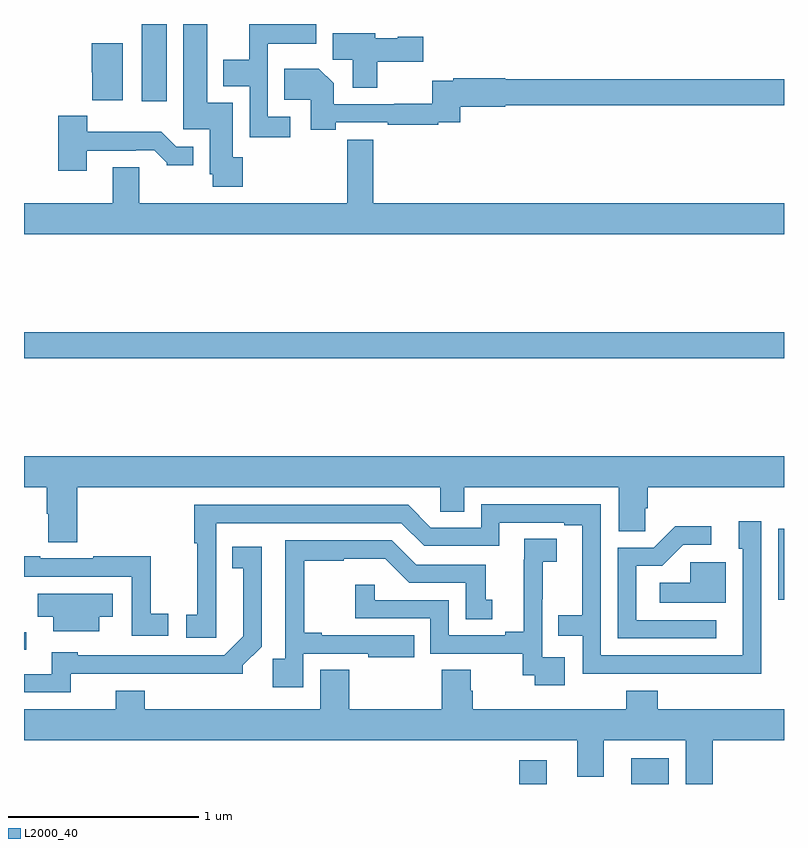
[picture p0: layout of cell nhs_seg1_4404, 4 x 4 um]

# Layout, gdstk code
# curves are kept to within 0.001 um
import gdstk
lib = gdstk.Library(unit=1e-6, precision=1e-09)
def R(c, l, rs):  # rectangles x0, y0, x1, y1
    for r in rs: c.add(gdstk.rectangle(r[:2], r[2:], *l))
def P(c, l, *ps):  # polygons
    for p in ps: c.add(gdstk.Polygon(p, *l))
L2000_40 = (2000, 40)

nhs_seg1_4404 = lib.new_cell('nhs_seg1_4404')
R(nhs_seg1_4404, L2000_40, [(353.606,522.199,353.752,522.325), (354.197,522.199,354.393,522.334), (351,522.905,351.013,522.999), (354.969,523.17,355,523.542), (351,524.44,355,524.576), (351.62,525.792,351.751,526.199)])
P(nhs_seg1_4404, L2000_40, [(352.151,525.498),(352.099,525.498),(352.099,525.784),(351.964,525.784),(351.964,526.199),(351.839,526.199),(351.839,525.645),(351.977,525.645),(351.977,525.408),(351.994,525.408),(351.994,525.342),(352.151,525.342)],
  [(352.402,525.711),(352.284,525.711),(352.284,526.094),(352.537,526.094),(352.537,526.199),(352.421,526.199),(352.421,526.198),(352.186,526.198),(352.186,526.012),(352.049,526.012),(352.049,525.872),(352.188,525.872),(352.188,525.603),(352.402,525.603)],
  [(352.86,526.001),(353.101,526.001),(353.101,526.131),(352.968,526.131),(352.968,526.123),(352.848,526.123),(352.848,526.15),(352.625,526.15),(352.625,526.012),(352.73,526.012),(352.73,525.864),(352.86,525.864)],
  [(351.52,526.099),(351.356,526.099),(351.356,525.945),(351.358,525.945),(351.358,525.797),(351.52,525.797)],
  [(352.642,525.681),(352.915,525.681),(352.915,525.669),(353.18,525.669),(353.18,525.681),(353.297,525.681),(353.297,525.764),(353.532,525.764),(353.532,525.772),(355,525.772),(355,525.908),(353.532,525.908),(353.532,525.914),(353.26,525.914),(353.26,525.901),(353.149,525.901),(353.149,525.78),(352.948,525.78),(352.948,525.777),(352.63,525.777),(352.63,525.886),(352.552,525.964),(352.369,525.964),(352.369,525.8),(352.508,525.8),(352.508,525.643),(352.642,525.643)],
  [(351.331,525.531),(351.587,525.531),(351.587,525.534),(351.686,525.534),(351.75,525.47),(351.75,525.455),(351.892,525.455),(351.892,525.552),(351.801,525.552),(351.723,525.631),(351.334,525.631),(351.334,525.715),(351.179,525.715),(351.179,525.426),(351.331,525.426)],
  [(355,525.256),(352.838,525.256),(352.838,525.589),(352.702,525.589),(352.702,525.256),(351.607,525.256),(351.607,525.446),(351.467,525.446),(351.467,525.256),(351,525.256),(351,525.092),(355,525.092)],
  [(351.281,523.76),(353.19,523.76),(353.19,523.633),(353.317,523.633),(353.317,523.76),(354.131,523.76),(354.131,523.528),(354.27,523.528),(354.27,523.651),(354.284,523.651),(354.284,523.76),(355,523.76),(355,523.924),(351,523.924),(351,523.76),(351.121,523.76),(351.121,523.621),(351.128,523.621),(351.128,523.471),(351.281,523.471)],
  [(354.881,523.082),(354.879,523.082),(354.879,523.582),(354.761,523.582),(354.761,523.437),(354.783,523.437),(354.783,522.876),(354.036,522.876),(354.036,523.671),(353.406,523.671),(353.406,523.548),(353.142,523.548),(353.022,523.668),(351.895,523.668),(351.895,523.465),(351.913,523.465),(351.913,523.089),(351.855,523.089),(351.855,522.969),(352.012,522.969),(352.011,523.572),(352.986,523.572),(353.106,523.452),(353.502,523.452),(353.502,523.575),(353.843,523.575),(353.843,523.56),(353.939,523.56),(353.939,523.087),(353.812,523.087),(353.812,522.978),(353.94,522.978),(353.94,522.78),(354.881,522.779)],
  [(354.643,523.062),(354.222,523.062),(354.222,523.347),(354.36,523.347),(354.471,523.458),(354.616,523.458),(354.616,523.556),(354.428,523.556),(354.315,523.443),(354.126,523.443),(354.126,522.966),(354.643,522.966)],
  [(353.845,522.867),(353.727,522.867),(353.727,523.171),(353.729,523.171),(353.729,523.369),(353.803,523.369),(353.803,523.49),(353.632,523.49),(353.632,523.379),(353.63,523.379),(353.63,523.001),(353.534,523.001),(353.534,522.981),(353.235,522.981),(353.235,523.167),(352.845,523.167),(352.845,523.249),(352.744,523.249),(352.744,523.071),(353.139,523.071),(353.139,522.885),(353.626,522.885),(353.626,522.771),(353.689,522.771),(353.689,522.72),(353.845,522.72)],
  [(352.47,522.885),(352.811,522.885),(352.811,522.866),(353.054,522.866),(353.054,522.981),(352.567,522.981),(352.567,522.994),(352.475,522.994),(352.475,523.374),(352.682,523.374),(352.682,523.385),(352.9,523.385),(353.028,523.257),(353.324,523.257),(353.324,523.066),(353.464,523.066),(353.464,523.17),(353.431,523.17),(353.431,523.353),(353.064,523.353),(352.935,523.482),(352.374,523.482),(352.374,522.859),(352.309,522.859),(352.309,522.708),(352.47,522.708)],
  [(351.246,522.78),(352.152,522.779),(352.152,522.823),(352.251,522.922),(352.251,523.447),(352.096,523.447),(352.096,523.334),(352.154,523.334),(352.154,522.977),(352.053,522.876),(351.282,522.876),(351.282,522.892),(351.146,522.892),(351.146,522.777),(351,522.777),(351,522.681),(351.246,522.681)],
  [(351.76,523.094),(351.666,523.094),(351.666,523.399),(351.364,523.399),(351.364,523.386),(351.085,523.386),(351.085,523.399),(351,523.399),(351,523.29),(351.567,523.29),(351.567,522.978),(351.76,522.978)],
  [(354.694,523.365),(354.507,523.365),(354.507,523.258),(354.345,523.258),(354.345,523.154),(354.694,523.154)],
  [(351.397,523.079),(351.466,523.079),(351.466,523.201),(351.073,523.201),(351.073,523.079),(351.155,523.079),(351.155,523.004),(351.397,523.004)],
  [(353.363,522.69),(353.35,522.69),(353.35,522.8),(353.198,522.8),(353.198,522.592),(352.712,522.592),(352.712,522.8),(352.559,522.8),(352.559,522.592),(351.635,522.592),(351.635,522.691),(351.482,522.691),(351.482,522.592),(351,522.592),(351,522.428),(353.912,522.428),(353.912,522.238),(354.052,522.238),(354.052,522.428),(354.482,522.428),(354.482,522.199),(354.626,522.199),(354.626,522.428),(355,522.428),(355,522.592),(354.335,522.592),(354.335,522.691),(354.17,522.691),(354.17,522.592),(353.363,522.592)])

lib.write_gds('nhs_seg1_4404.gds')
